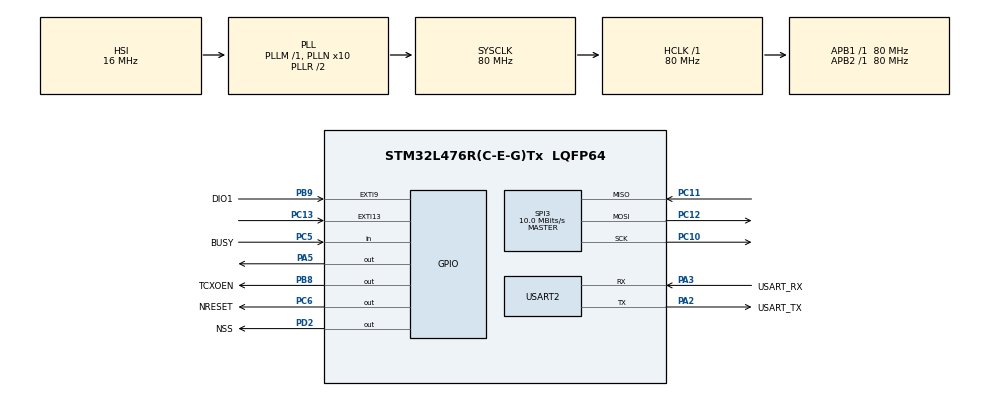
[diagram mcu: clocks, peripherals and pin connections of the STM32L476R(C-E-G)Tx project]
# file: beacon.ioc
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Mcu.Family=STM32L4
Mcu.Name=STM32L476R(C-E-G)Tx
Mcu.Package=LQFP64
NUCLEO-L476RG.BUTTON=1
NUCLEO-L476RG.LD2=true
NVIC.EXTI15_10_IRQn=true\:0\:0\:false\:false\:true\:false\:true\:true
NVIC.EXTI9_5_IRQn=true\:0\:0\:false\:false\:true\:true\:true\:true
NVIC.PriorityGroup=NVIC_PRIORITYGROUP_4
PA13\ (JTMS-SWDIO).GPIO_Label=TMS
PA13\ (JTMS-SWDIO).Signal=SYS_JTMS-SWDIO
PA14\ (JTCK-SWCLK).GPIO_Label=TCK
PA14\ (JTCK-SWCLK).Signal=SYS_JTCK-SWCLK
PA2.GPIO_Label=USART_TX
PA2.GPIO_Mode=GPIO_MODE_AF_PP
PA2.GPIO_PuPd=GPIO_NOPULL
PA2.GPIO_Speed=GPIO_SPEED_FREQ_VERY_HIGH
PA2.Mode=Asynchronous
PA2.Signal=USART2_TX
PA3.GPIO_Label=USART_RX
PA3.GPIO_Mode=GPIO_MODE_AF_PP
PA3.GPIO_PuPd=GPIO_NOPULL
PA3.GPIO_Speed=GPIO_SPEED_FREQ_VERY_HIGH
PA3.Mode=Asynchronous
PA3.Signal=USART2_RX
PA5.Signal=GPIO_Output
PB3\ (JTDO-TRACESWO).GPIO_Label=SWO
PB3\ (JTDO-TRACESWO).Signal=SYS_JTDO-SWO
PB8.GPIO_Label=TCXOEN
PB8.PinState=GPIO_PIN_RESET
PB8.Signal=GPIO_Output
PB9.GPIO_Label=DIO1
PB9.Signal=GPXTI9
PC10.Mode=Full_Duplex_Master
PC10.Signal=SPI3_SCK
PC11.Mode=Full_Duplex_Master
PC11.Signal=SPI3_MISO
PC12.Mode=Full_Duplex_Master
PC12.Signal=SPI3_MOSI
PC13.Signal=GPXTI13
PC14-OSC32_IN\ (PC14).Signal=RCC_OSC32_IN
PC15-OSC32_OUT\ (PC15).Signal=RCC_OSC32_OUT
PC5.GPIO_Label=BUSY
PC5.GPIO_Mode=GPIO_MODE_INPUT
PC5.Signal=GPIO_Input
PC6.GPIO_Label=NRESET
PC6.PinState=GPIO_PIN_SET
PC6.Signal=GPIO_Output
PD2.GPIO_Label=NSS
PD2.PinState=GPIO_PIN_SET
PD2.Signal=GPIO_Output
PH0-OSC_IN\ (PH0).Signal=RCC_OSC_IN
PH1-OSC_OUT\ (PH1).Signal=RCC_OSC_OUT
ProjectManager.HeapSize=0x200
ProjectManager.StackSize=0x400
ProjectManager.TargetToolchain=CMake
RCC.ADCFreq_Value=64000000
RCC.AHBFreq_Value=80000000
RCC.APB1Freq_Value=80000000
RCC.APB1TimFreq_Value=80000000
RCC.APB2Freq_Value=80000000
RCC.APB2TimFreq_Value=80000000
RCC.CortexFreq_Value=80000000
RCC.HCLKFreq_Value=80000000
RCC.HSE_VALUE=8000000
RCC.HSI_VALUE=16000000
RCC.LSE_VALUE=32768
RCC.MSI_VALUE=4000000
RCC.PLLN=10
RCC.PLLSourceVirtual=RCC_PLLSOURCE_HSI
RCC.PREFETCH_ENABLE=1
RCC.SYSCLKFreq_VALUE=80000000
RCC.SYSCLKSource=RCC_SYSCLKSOURCE_PLLCLK
RCC.USBFreq_Value=64000000
RCC.VCOOutputFreq_Value=160000000
SPI3.BaudRatePrescaler=SPI_BAUDRATEPRESCALER_8
SPI3.CalculateBaudRate=10.0 MBits/s
SPI3.DataSize=SPI_DATASIZE_8BIT
SPI3.Direction=SPI_DIRECTION_2LINES
SPI3.Mode=SPI_MODE_MASTER
SPI3.VirtualType=VM_MASTER
USART2.VirtualMode-Asynchronous=VM_ASYNC
VP_NUCLEO-L476RG_VS_BSP_COMMON.Mode=COMMON
board=NUCLEO-L476RG

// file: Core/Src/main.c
/* USER CODE BEGIN Header */
/**
 ******************************************************************************
 * @file           : main.c
 * @brief          : Main program body
 ******************************************************************************
 * @attention
 *
 * Copyright (c) 2026 STMicroelectronics.
 * All rights reserved.
 *
 * This software is licensed under terms that can be found in the LICENSE file
 * in the root directory of this software component.
 * If no LICENSE file comes with this software, it is provided AS-IS.
 *
 ******************************************************************************
 */
/* USER CODE END Header */
#include "main.h"

/* USER CODE BEGIN Includes */
#include <stdint.h>
#include "SX1280Bridge.h"
#include "cmsis_gcc.h"
#include "stm32l4xx_hal.h"
#include "stm32l4xx_nucleo.h"
/* USER CODE END Includes */

SPI_HandleTypeDef hspi3;

UART_HandleTypeDef huart2;

/* USER CODE BEGIN PV */

volatile uint8_t DIO1_Callback_detected = 0;

/* USER CODE END PV */

void SystemClock_Config(void);
static void MX_GPIO_Init(void);
static void MX_SPI3_Init(void);
static void MX_USART2_UART_Init(void);

int main(void)
{

  /* MCU Configuration--------------------------------------------------------*/

  /* Reset of all peripherals, Initializes the Flash interface and the Systick. */
  HAL_Init();

  /* Configure the system clock */
  SystemClock_Config();

  /* Initialize all configured peripherals */
  MX_GPIO_Init();
  MX_SPI3_Init();
  MX_USART2_UART_Init();
  /* USER CODE BEGIN 2 */

  SX1280_Create(&hspi3, BUSY_GPIO_Port, NSS_GPIO_Port, NRESET_GPIO_Port, TCXOEN_GPIO_Port, BUSY_Pin, NSS_Pin, NRESET_Pin, TCXOEN_Pin);
  SX1280_Beacon_Radio();
  SX1280_Send_Wake_Broadcast();
  /* USER CODE END 2 */

  /* Initialize leds */
  BSP_LED_Init(LED_GREEN);

  /* Initialize USER push-button, will be used to trigger an interrupt each time it's pressed.*/
  BSP_PB_Init(BUTTON_USER, BUTTON_MODE_EXTI);

  /* Infinite loop */
  while (1) {

    BSP_LED_Toggle(LED_GREEN);
    HAL_Delay(500);
  }
}

void SystemClock_Config(void)
{
  RCC_OscInitTypeDef RCC_OscInitStruct = {0};
  RCC_ClkInitTypeDef RCC_ClkInitStruct = {0};

  /** Configure the main internal regulator output voltage
  */
  if (HAL_PWREx_ControlVoltageScaling(PWR_REGULATOR_VOLTAGE_SCALE1) != HAL_OK) {
    Error_Handler();
  }

  /** Initializes the RCC Oscillators according to the specified parameters
  * in the RCC_OscInitTypeDef structure.
  */
  RCC_OscInitStruct.OscillatorType = RCC_OSCILLATORTYPE_HSI;
  RCC_OscInitStruct.HSIState = RCC_HSI_ON;
  RCC_OscInitStruct.HSICalibrationValue = RCC_HSICALIBRATION_DEFAULT;
  RCC_OscInitStruct.PLL.PLLState = RCC_PLL_ON;
  RCC_OscInitStruct.PLL.PLLSource = RCC_PLLSOURCE_HSI;
  RCC_OscInitStruct.PLL.PLLM = 1;
  RCC_OscInitStruct.PLL.PLLN = 10;
  RCC_OscInitStruct.PLL.PLLP = RCC_PLLP_DIV7;
  RCC_OscInitStruct.PLL.PLLQ = RCC_PLLQ_DIV2;
  RCC_OscInitStruct.PLL.PLLR = RCC_PLLR_DIV2;
  if (HAL_RCC_OscConfig(&RCC_OscInitStruct) != HAL_OK) {
    Error_Handler();
  }

  /** Initializes the CPU, AHB and APB buses clocks
  */
  RCC_ClkInitStruct.ClockType = RCC_CLOCKTYPE_HCLK | RCC_CLOCKTYPE_SYSCLK | RCC_CLOCKTYPE_PCLK1 | RCC_CLOCKTYPE_PCLK2;
  RCC_ClkInitStruct.SYSCLKSource = RCC_SYSCLKSOURCE_PLLCLK;
  RCC_ClkInitStruct.AHBCLKDivider = RCC_SYSCLK_DIV1;
  RCC_ClkInitStruct.APB1CLKDivider = RCC_HCLK_DIV1;
  RCC_ClkInitStruct.APB2CLKDivider = RCC_HCLK_DIV1;

  if (HAL_RCC_ClockConfig(&RCC_ClkInitStruct, FLASH_LATENCY_4) != HAL_OK) {
    Error_Handler();
  }
}

static void MX_SPI3_Init(void)
{

  /* SPI3 parameter configuration*/
  hspi3.Instance = SPI3;
  hspi3.Init.Mode = SPI_MODE_MASTER;
  hspi3.Init.Direction = SPI_DIRECTION_2LINES;
  hspi3.Init.DataSize = SPI_DATASIZE_8BIT;
  hspi3.Init.CLKPolarity = SPI_POLARITY_LOW;
  hspi3.Init.CLKPhase = SPI_PHASE_1EDGE;
  hspi3.Init.NSS = SPI_NSS_SOFT;
  hspi3.Init.BaudRatePrescaler = SPI_BAUDRATEPRESCALER_8;
  hspi3.Init.FirstBit = SPI_FIRSTBIT_MSB;
  hspi3.Init.TIMode = SPI_TIMODE_DISABLE;
  hspi3.Init.CRCCalculation = SPI_CRCCALCULATION_DISABLE;
  hspi3.Init.CRCPolynomial = 7;
  hspi3.Init.CRCLength = SPI_CRC_LENGTH_DATASIZE;
  hspi3.Init.NSSPMode = SPI_NSS_PULSE_ENABLE;
  if (HAL_SPI_Init(&hspi3) != HAL_OK) {
    Error_Handler();
  }
}

static void MX_USART2_UART_Init(void)
{

  huart2.Instance = USART2;
  huart2.Init.BaudRate = 115200;
  huart2.Init.WordLength = UART_WORDLENGTH_8B;
  huart2.Init.StopBits = UART_STOPBITS_1;
  huart2.Init.Parity = UART_PARITY_NONE;
  huart2.Init.Mode = UART_MODE_TX_RX;
  huart2.Init.HwFlowCtl = UART_HWCONTROL_NONE;
  huart2.Init.OverSampling = UART_OVERSAMPLING_16;
  huart2.Init.OneBitSampling = UART_ONE_BIT_SAMPLE_DISABLE;
  huart2.AdvancedInit.AdvFeatureInit = UART_ADVFEATURE_NO_INIT;
  if (HAL_UART_Init(&huart2) != HAL_OK) {
    Error_Handler();
  }
}

static void MX_GPIO_Init(void)
{
  GPIO_InitTypeDef GPIO_InitStruct = {0};

  /* GPIO Ports Clock Enable */
  __HAL_RCC_GPIOC_CLK_ENABLE();
  __HAL_RCC_GPIOH_CLK_ENABLE();
  __HAL_RCC_GPIOA_CLK_ENABLE();
  __HAL_RCC_GPIOD_CLK_ENABLE();
  __HAL_RCC_GPIOB_CLK_ENABLE();

  /*Configure GPIO pin Output Level */
  HAL_GPIO_WritePin(NRESET_GPIO_Port, NRESET_Pin, GPIO_PIN_SET);

  /*Configure GPIO pin Output Level */
  HAL_GPIO_WritePin(NSS_GPIO_Port, NSS_Pin, GPIO_PIN_SET);

  /*Configure GPIO pin Output Level */
  HAL_GPIO_WritePin(TCXOEN_GPIO_Port, TCXOEN_Pin, GPIO_PIN_RESET);

  /*Configure GPIO pin : BUSY_Pin */
  GPIO_InitStruct.Pin = BUSY_Pin;
  GPIO_InitStruct.Mode = GPIO_MODE_INPUT;
  GPIO_InitStruct.Pull = GPIO_NOPULL;
  HAL_GPIO_Init(BUSY_GPIO_Port, &GPIO_InitStruct);

  /*Configure GPIO pin : NRESET_Pin */
  GPIO_InitStruct.Pin = NRESET_Pin;
  GPIO_InitStruct.Mode = GPIO_MODE_OUTPUT_PP;
  GPIO_InitStruct.Pull = GPIO_NOPULL;
  GPIO_InitStruct.Speed = GPIO_SPEED_FREQ_LOW;
  HAL_GPIO_Init(NRESET_GPIO_Port, &GPIO_InitStruct);

  /*Configure GPIO pin : NSS_Pin */
  GPIO_InitStruct.Pin = NSS_Pin;
  GPIO_InitStruct.Mode = GPIO_MODE_OUTPUT_PP;
  GPIO_InitStruct.Pull = GPIO_NOPULL;
  GPIO_InitStruct.Speed = GPIO_SPEED_FREQ_LOW;
  HAL_GPIO_Init(NSS_GPIO_Port, &GPIO_InitStruct);

  /*Configure GPIO pin : TCXOEN_Pin */
  GPIO_InitStruct.Pin = TCXOEN_Pin;
  GPIO_InitStruct.Mode = GPIO_MODE_OUTPUT_PP;
  GPIO_InitStruct.Pull = GPIO_NOPULL;
  GPIO_InitStruct.Speed = GPIO_SPEED_FREQ_LOW;
  HAL_GPIO_Init(TCXOEN_GPIO_Port, &GPIO_InitStruct);

  /*Configure GPIO pin : DIO1_Pin */
  GPIO_InitStruct.Pin = DIO1_Pin;
  GPIO_InitStruct.Mode = GPIO_MODE_IT_RISING;
  GPIO_InitStruct.Pull = GPIO_NOPULL;
  HAL_GPIO_Init(DIO1_GPIO_Port, &GPIO_InitStruct);

  /* EXTI interrupt init*/
  HAL_NVIC_SetPriority(EXTI9_5_IRQn, 0, 0);
  HAL_NVIC_EnableIRQ(EXTI9_5_IRQn);

}

/* USER CODE BEGIN 4 */

int __io_putchar(int ch)
{
  uint8_t c = (uint8_t)ch;
  HAL_UART_Transmit(&huart2, &c, 1, HAL_MAX_DELAY);
  return ch;
}

void HAL_GPIO_EXTI_Callback(uint16_t GPIO_Pin)
{
  if (GPIO_Pin == DIO1_Pin) {
    DIO1_Callback_detected = 1;
  }
}

/* USER CODE END 4 */

void Error_Handler(void)
{
  __disable_irq();
  while (1) {
  }
}
